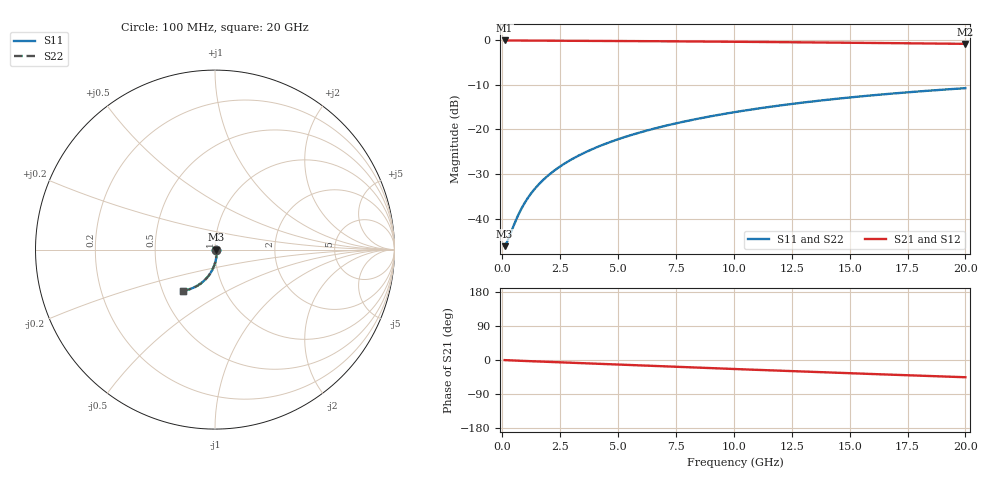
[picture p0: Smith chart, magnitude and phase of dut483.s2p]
! Touchstone file exported from HFSS 2026.1.0
!  File:  C:/ffzhzh/LocalFiles/Ansys_Project_Files/temp_train_TMRDL_483_1783006430_46388.aedt
!  Generated:  11:35:16 PM Jul  2, 2026
!  Design:  TMRDL
!  Project:  temp_train_TMRDL_483_1783006430_46388
! Variables:
!  h_bsmrdl = 2um
!  h_ox = 20um
!  h_rdl = 5um
!  h_sub = 80um
!  h_tmrdl = 3.39um
!  h_tsv = 80um
!  h_via = 3um
!  l_bsmrdl = 300um
!  l_sub = 1129.95um
!  l_tmrdl = 729.95um
!  m_sub = 200um
!  pitch = 17.56um
!  r_tsv = 6um
!  s_tmrdl = 10um
!  w_bsmrdl = 18um
!  w_sub = 500um
!  w_tmrdl = 16.39um
!  x_tsv_center1 = 738.145um
!  x_tsv_center2 = 1056.145um
!  x_tsv_center3 = 1802.485um
!  x_tsv_center4 = 2120.485um
!  x_tsv_center5 = 2866.825um
!  x_tsv_center6 = 3184.825um
# GHz S MA R 50.000000
! Terminal data exported
! Port[1] = TM_RDL1_1_T1
! Port[2] = TM_RDL1_1_T2
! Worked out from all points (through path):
!   200 points, 100 MHz to 20 GHz, reference 50 ohm
!   highest |S21| = -0.04 dB at 100 MHz (marker M1); lowest = -0.8 dB at 20 GHz (marker M2)
!   group delay of S21, straight-line fit = 6.3 ps
!   lowest |S11| = -46.2 dB at 100 MHz (marker M3), VSWR 1.01, Z = 50.5 - j0.0608 ohm
!   |S11| at or under -10 dB: start of sweep to end of sweep
!   |S22| runs from -46.2 to -10.7 dB; largest |S21 - S12| = 5.2e-15
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0.1  0.004912 -7.0  0.9951 -0.3  0.9951 -0.3  0.004912 -7.0
! Gamma 0 0 0 0
! Port Impedance 50 0 50 0
0.2  0.005434 -14.2  0.9947 -0.6  0.9947 -0.6  0.005434 -14.2
0.3  0.006243 -21.2  0.9941 -0.9  0.9941 -0.9  0.006243 -21.2
0.6  0.009758 -39.5  0.9923 -1.6  0.9923 -1.6  0.009759 -39.5
0.8  0.01256 -48.5  0.9913 -2.1  0.9913 -2.1  0.01256 -48.5
0.9  0.01401 -52.1  0.9909 -2.4  0.9909 -2.4  0.01402 -52.1
1.1  0.01699 -58.1  0.9902 -2.8  0.9902 -2.8  0.017 -58.1
1.4  0.02155 -64.8  0.9894 -3.6  0.9894 -3.6  0.02155 -64.8
1.8  0.02769 -71.0  0.9886 -4.5  0.9886 -4.5  0.0277 -71.0
2.3  0.03542 -76.4  0.9877 -5.7  0.9877 -5.7  0.03543 -76.3
2.9  0.04473 -80.9  0.9865 -7.1  0.9865 -7.1  0.04474 -80.8
3.5  0.05409 -84.3  0.9852 -8.6  0.9852 -8.6  0.05411 -84.2
4.2  0.06506 -87.4  0.9834 -10.2  0.9834 -10.2  0.06507 -87.4
5  0.07764 -90.5  0.9812 -12.1  0.9812 -12.1  0.07766 -90.4
5.9  0.09183 -93.5  0.9783 -14.3  0.9783 -14.3  0.09186 -93.4
6.8  0.106 -96.2  0.9752 -16.4  0.9752 -16.4  0.1061 -96.1
8.4  0.1311 -100.6  0.969 -20.1  0.969 -20.1  0.1312 -100.5
10.1  0.1574 -105.0  0.9618 -24.0  0.9618 -24.0  0.1574 -104.9
11.7  0.1814 -109.0  0.9545 -27.6  0.9545 -27.6  0.1815 -108.9
13.4  0.2061 -113.1  0.9462 -31.4  0.9462 -31.4  0.2062 -113.0
16.7  0.2508 -120.7  0.9293 -38.5  0.9293 -38.5  0.2509 -120.6
20  0.2904 -128.0  0.9117 -45.5  0.9117 -45.5  0.2906 -127.9
